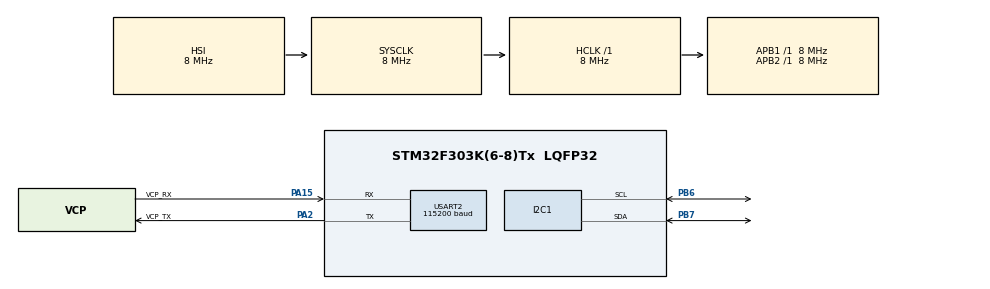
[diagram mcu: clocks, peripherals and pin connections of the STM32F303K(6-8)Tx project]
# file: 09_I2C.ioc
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I2C1.Timing=0x00201D2B
Mcu.Family=STM32F3
Mcu.Name=STM32F303K(6-8)Tx
Mcu.Package=LQFP32
NVIC.PriorityGroup=NVIC_PRIORITYGROUP_4
PA13.GPIO_Label=SWDIO
PA13.Mode=Serial_Wire
PA13.Signal=SYS_JTMS-SWDIO
PA14.GPIO_Label=SWCLK
PA14.Mode=Serial_Wire
PA14.Signal=SYS_JTCK-SWCLK
PA15.GPIO_Label=VCP_RX
PA15.Mode=Asynchronous
PA15.Signal=USART2_RX
PA2.GPIO_Label=VCP_TX
PA2.Mode=Asynchronous
PA2.Signal=USART2_TX
PB6.Mode=I2C
PB6.Signal=I2C1_SCL
PB7.Mode=I2C
PB7.Signal=I2C1_SDA
PF0\ /\ OSC_IN.GPIO_Label=MCO
PF0\ /\ OSC_IN.Mode=HSE-External-Clock-Source
PF0\ /\ OSC_IN.Signal=RCC_OSC_IN
ProjectManager.HeapSize=0x200
ProjectManager.StackSize=0x400
ProjectManager.TargetToolchain=STM32CubeIDE
RCC.AHBFreq_Value=8000000
RCC.APB1Freq_Value=8000000
RCC.APB2Freq_Value=8000000
RCC.CortexFreq_Value=8000000
RCC.HSE_VALUE=8000000
RCC.HSI_VALUE=8000000
RCC.SYSCLKFreq_VALUE=8000000
USART2.BaudRate=115200
USART2.VirtualMode-Asynchronous=VM_ASYNC
board=NUCLEO-F303K8

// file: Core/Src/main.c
/* USER CODE BEGIN Header */
/**
  ******************************************************************************
  * @file           : main.c
  * @brief          : Main program body
  ******************************************************************************
  * @attention
  *
  * Copyright (c) 2026 STMicroelectronics.
  * All rights reserved.
  *
  * This software is licensed under terms that can be found in the LICENSE file
  * in the root directory of this software component.
  * If no LICENSE file comes with this software, it is provided AS-IS.
  *
  ******************************************************************************
  */
/* USER CODE END Header */
#include "main.h"

/* USER CODE BEGIN Includes */
#include <stdio.h>
/* USER CODE END Includes */

/* USER CODE BEGIN PD */

#define BME280_addr (0x76 << 1)

/* USER CODE END PD */

I2C_HandleTypeDef hi2c1;

UART_HandleTypeDef huart2;

/* USER CODE BEGIN PV */

uint8_t config_hum = 0x01;
uint8_t config_pres_temp = 0x27;

HAL_StatusTypeDef ret;

uint8_t sensor_data[8];

int32_t pres_data;
int32_t temp_data;
uint16_t hum_data;

float pressure;
float temperature;
float humidity;

//Calibration parameter variables
uint16_t dig_T1;
int16_t dig_T2;
int16_t dig_T3;

uint16_t dig_P1;
int16_t dig_P2;
int16_t dig_P3;
int16_t dig_P4;
int16_t dig_P5;
int16_t dig_P6;
int16_t dig_P7;
int16_t dig_P8;
int16_t dig_P9;

uint8_t dig_H1;
int16_t dig_H2;
uint8_t dig_H3;
int16_t dig_H4;
int16_t dig_H5;
int8_t dig_H6;

/* USER CODE END PV */

void SystemClock_Config(void);
static void MX_GPIO_Init(void);
static void MX_I2C1_Init(void);
static void MX_USART2_UART_Init(void);
/* USER CODE BEGIN PFP */

int32_t  BME280_compensate_T_int32(int32_t adc_T);
uint32_t BME280_compensate_P_int64(int32_t adc_P);
uint32_t BME280_compensate_H_int32(int32_t adc_H);

HAL_StatusTypeDef BME280_init(void);
HAL_StatusTypeDef BME280_calibration_parameters(void);

void BME280_ReadData(void);
void Display_Update(void);

/* USER CODE END PFP */

int main(void)
{

  /* MCU Configuration--------------------------------------------------------*/

  /* Reset of all peripherals, Initializes the Flash interface and the Systick. */
  HAL_Init();

  /* Configure the system clock */
  SystemClock_Config();

  /* Initialize all configured peripherals */
  MX_GPIO_Init();
  MX_I2C1_Init();
  MX_USART2_UART_Init();
  /* USER CODE BEGIN 2 */

  BME280_init();

  /* USER CODE END 2 */

  /* Infinite loop */
  /* USER CODE BEGIN WHILE */
  while (1)
  {

	  BME280_ReadData();

	  Display_Update();

	  HAL_Delay(1000);

    /* USER CODE END WHILE */

  }
}

void SystemClock_Config(void)
{
  RCC_OscInitTypeDef RCC_OscInitStruct = {0};
  RCC_ClkInitTypeDef RCC_ClkInitStruct = {0};
  RCC_PeriphCLKInitTypeDef PeriphClkInit = {0};

  /** Initializes the RCC Oscillators according to the specified parameters
  * in the RCC_OscInitTypeDef structure.
  */
  RCC_OscInitStruct.OscillatorType = RCC_OSCILLATORTYPE_HSI;
  RCC_OscInitStruct.HSIState = RCC_HSI_ON;
  RCC_OscInitStruct.HSICalibrationValue = RCC_HSICALIBRATION_DEFAULT;
  RCC_OscInitStruct.PLL.PLLState = RCC_PLL_NONE;
  if (HAL_RCC_OscConfig(&RCC_OscInitStruct) != HAL_OK)
  {
    Error_Handler();
  }

  /** Initializes the CPU, AHB and APB buses clocks
  */
  RCC_ClkInitStruct.ClockType = RCC_CLOCKTYPE_HCLK|RCC_CLOCKTYPE_SYSCLK
                              |RCC_CLOCKTYPE_PCLK1|RCC_CLOCKTYPE_PCLK2;
  RCC_ClkInitStruct.SYSCLKSource = RCC_SYSCLKSOURCE_HSI;
  RCC_ClkInitStruct.AHBCLKDivider = RCC_SYSCLK_DIV1;
  RCC_ClkInitStruct.APB1CLKDivider = RCC_HCLK_DIV1;
  RCC_ClkInitStruct.APB2CLKDivider = RCC_HCLK_DIV1;

  if (HAL_RCC_ClockConfig(&RCC_ClkInitStruct, FLASH_LATENCY_0) != HAL_OK)
  {
    Error_Handler();
  }
  PeriphClkInit.PeriphClockSelection = RCC_PERIPHCLK_I2C1;
  PeriphClkInit.I2c1ClockSelection = RCC_I2C1CLKSOURCE_HSI;
  if (HAL_RCCEx_PeriphCLKConfig(&PeriphClkInit) != HAL_OK)
  {
    Error_Handler();
  }
}

static void MX_I2C1_Init(void)
{

  hi2c1.Instance = I2C1;
  hi2c1.Init.Timing = 0x00201D2B;
  hi2c1.Init.OwnAddress1 = 0;
  hi2c1.Init.AddressingMode = I2C_ADDRESSINGMODE_7BIT;
  hi2c1.Init.DualAddressMode = I2C_DUALADDRESS_DISABLE;
  hi2c1.Init.OwnAddress2 = 0;
  hi2c1.Init.OwnAddress2Masks = I2C_OA2_NOMASK;
  hi2c1.Init.GeneralCallMode = I2C_GENERALCALL_DISABLE;
  hi2c1.Init.NoStretchMode = I2C_NOSTRETCH_DISABLE;
  if (HAL_I2C_Init(&hi2c1) != HAL_OK)
  {
    Error_Handler();
  }

  /** Configure Analogue filter
  */
  if (HAL_I2CEx_ConfigAnalogFilter(&hi2c1, I2C_ANALOGFILTER_ENABLE) != HAL_OK)
  {
    Error_Handler();
  }

  /** Configure Digital filter
  */
  if (HAL_I2CEx_ConfigDigitalFilter(&hi2c1, 0) != HAL_OK)
  {
    Error_Handler();
  }

}

static void MX_USART2_UART_Init(void)
{

  huart2.Instance = USART2;
  huart2.Init.BaudRate = 115200;
  huart2.Init.WordLength = UART_WORDLENGTH_8B;
  huart2.Init.StopBits = UART_STOPBITS_1;
  huart2.Init.Parity = UART_PARITY_NONE;
  huart2.Init.Mode = UART_MODE_TX_RX;
  huart2.Init.HwFlowCtl = UART_HWCONTROL_NONE;
  huart2.Init.OverSampling = UART_OVERSAMPLING_16;
  huart2.Init.OneBitSampling = UART_ONE_BIT_SAMPLE_DISABLE;
  huart2.AdvancedInit.AdvFeatureInit = UART_ADVFEATURE_NO_INIT;
  if (HAL_UART_Init(&huart2) != HAL_OK)
  {
    Error_Handler();
  }

}

static void MX_GPIO_Init(void)
{

  /* GPIO Ports Clock Enable */
  __HAL_RCC_GPIOF_CLK_ENABLE();
  __HAL_RCC_GPIOA_CLK_ENABLE();
  __HAL_RCC_GPIOB_CLK_ENABLE();

}

/* USER CODE BEGIN 4 */

HAL_StatusTypeDef  BME280_init(){

	HAL_StatusTypeDef ret;

	ret = HAL_I2C_Mem_Write(&hi2c1, BME280_addr, 0xF2, I2C_MEMADD_SIZE_8BIT, &config_hum, 1, HAL_MAX_DELAY);
	if(ret != HAL_OK){
		printf("Write Error for humidity sensor\r\n");
		return ret;
	}
	ret = HAL_I2C_Mem_Write(&hi2c1, BME280_addr, 0xF4, I2C_MEMADD_SIZE_8BIT, &config_pres_temp, 1, HAL_MAX_DELAY);
	if(ret != HAL_OK){
		printf("Write Error for temperature & pressure sensor\r\n");
		return ret;
	}

	return BME280_calibration_parameters();

}

void BME280_ReadData(){

	ret = HAL_I2C_Mem_Read(&hi2c1, BME280_addr, 0xF7, I2C_MEMADD_SIZE_8BIT, sensor_data, 8, HAL_MAX_DELAY);
	if(ret != HAL_OK){
		printf("Read Error\r\n");
		return;
	}

	pres_data = ((int32_t)sensor_data[0] << 12 ) | ((int32_t)sensor_data[1] <<4 ) | ((int32_t)sensor_data[2] >> 4 );

	temp_data = ((int32_t)sensor_data[3] << 12)| ((int32_t)sensor_data[4] <<4)  | ((int32_t)sensor_data[5] >> 4 );

	hum_data = ((uint32_t)sensor_data[6]<< 8) | ((uint32_t)sensor_data[7]);

	temperature = BME280_compensate_T_int32(temp_data) / 100.0f;
	pressure = BME280_compensate_P_int64(pres_data) / 25600.0f;
	humidity = BME280_compensate_H_int32(hum_data) / 1024.0f;

}

void Display_Update(){

	printf("Pressure: %.2f hPa\r\n", pressure);
	printf("Temperature: %.2f °C\r\n", temperature);
	printf("Humidity: %.2f %%RH\r\n\n", humidity);

}

int __io_putchar(int ch)
{
	HAL_UART_Transmit(&huart2, (uint8_t *)&ch, 1, HAL_MAX_DELAY);
	return ch;
}

//Storing the hard-coded calibration parameters from bme280 into usable variables
HAL_StatusTypeDef BME280_calibration_parameters(){

uint8_t calibration1[26];
uint8_t calibration2[7];

HAL_StatusTypeDef ret;

ret = HAL_I2C_Mem_Read(&hi2c1, BME280_addr, 0x88, I2C_MEMADD_SIZE_8BIT, calibration1, sizeof(calibration1), HAL_MAX_DELAY);
	if(ret != HAL_OK){
		printf("Calibration parameter set 1 Read Error\r\n");
		return ret;
	}
ret = HAL_I2C_Mem_Read(&hi2c1, BME280_addr, 0xE1, I2C_MEMADD_SIZE_8BIT, calibration2, sizeof(calibration2), HAL_MAX_DELAY);
	if(ret != HAL_OK){
		printf("Calibration parameter set 2 Read Error\r\n");
		return ret;
	}

dig_T1 = ((uint16_t)calibration1[1] << 8) | calibration1[0];
dig_T2 = (int16_t)(((uint16_t)calibration1[3] << 8) | calibration1[2]);
dig_T3 = (int16_t)(((uint16_t)calibration1[5] << 8) | calibration1[4]);

dig_P1 = ((uint16_t)calibration1[7] << 8) | calibration1[6];
dig_P2 = (int16_t)(((uint16_t)calibration1[9] << 8) | calibration1[8]);
dig_P3 = (int16_t)(((uint16_t)calibration1[11] << 8) | calibration1[10]);
dig_P4 = (int16_t)(((uint16_t)calibration1[13] << 8) | calibration1[12]);
dig_P5 = (int16_t)(((uint16_t)calibration1[15] << 8) | calibration1[14]);
dig_P6 = (int16_t)(((uint16_t)calibration1[17] << 8) | calibration1[16]);
dig_P7 = (int16_t)(((uint16_t)calibration1[19] << 8) | calibration1[18]);
dig_P8 = (int16_t)(((uint16_t)calibration1[21] << 8) | calibration1[20]);
dig_P9 = (int16_t)(((uint16_t)calibration1[23] << 8) | calibration1[22]);

dig_H1 = calibration1[25];
dig_H2 = (int16_t)(((uint16_t)calibration2[1] << 8) | calibration2[0]);
dig_H3 = calibration2[2];
dig_H4 = (int16_t)(((int16_t)(int8_t)calibration2[3] << 4) | (calibration2[4] & (0x0F)));
dig_H5 = (int16_t)(((int16_t)(int8_t)calibration2[5] << 4) | (calibration2[4] >> 4));
dig_H6 = (int8_t)calibration2[6];

printf("P1=%u P2=%d P3=%d\r\n", dig_P1, dig_P2, dig_P3);
printf("P4=%d P5=%d P6=%d\r\n", dig_P4, dig_P5, dig_P6);
printf("P7=%d P8=%d P9=%d\r\n", dig_P7, dig_P8, dig_P9);

printf("H1=%u H2=%d H3=%u H4=%d H5=%d H6=%d\r\n\n", dig_H1, dig_H2, dig_H3, dig_H4, dig_H5, dig_H6);

return HAL_OK;
}

// Returns temperature in DegC, resolution is 0.01 DegC.
// Output value of "5123" equals 51.23 DegC.
// t_fine carries fine temperature as global value.

int32_t t_fine;

int32_t BME280_compensate_T_int32(int32_t adc_T)
{
    int32_t var1, var2, T;

    var1 = ((((adc_T >> 3) - ((int32_t)dig_T1 << 1))) *
            ((int32_t)dig_T2)) >> 11;

    var2 = (((((adc_T >> 4) - ((int32_t)dig_T1)) *
             ((adc_T >> 4) - ((int32_t)dig_T1))) >> 12) *
             ((int32_t)dig_T3)) >> 14;

    t_fine = var1 + var2;

    T = (t_fine * 5 + 128) >> 8;

    return T;
}

// Returns pressure in Pa as unsigned 32-bit integer in Q24.8 format
// (24 integer bits and 8 fractional bits)
// Example:
// 24674867 represents 24674867 / 256 = 96386.2 Pa = 963.862 hPa

uint32_t BME280_compensate_P_int64(int32_t adc_P)
{
    int64_t var1, var2, p;

    var1 = ((int64_t)t_fine) - 128000;
    var2 = var1 * var1 * (int64_t)dig_P6;
    var2 = var2 + ((var1 * (int64_t)dig_P5) << 17);
    var2 = var2 + (((int64_t)dig_P4) << 35);
    var1 = ((var1 * var1 * (int64_t)dig_P3) >> 8) +
           ((var1 * (int64_t)dig_P2) << 12);
    var1 = (((((int64_t)1) << 47) + var1) *
            ((int64_t)dig_P1)) >> 33;

    if (var1 == 0)
    {
        return 0; // Avoid division by zero
    }

    p = 1048576 - adc_P;
    p = (((p << 31) - var2) * 3125) / var1;
    var1 = (((int64_t)dig_P9) * (p >> 13) * (p >> 13)) >> 25;
    var2 = (((int64_t)dig_P8) * p) >> 19;

    p = ((p + var1 + var2) >> 8) +
        (((int64_t)dig_P7) << 4);

    return (uint32_t)p;
}

// Returns humidity in %RH as unsigned 32-bit integer in Q22.10 format
// (22 integer bits and 10 fractional bits)
// Example:
// 47445 represents 47445 / 1024 = 46.333 %RH

uint32_t BME280_compensate_H_int32(int32_t adc_H)
{
    int32_t v_x1_u32r;

    v_x1_u32r = (t_fine - ((int32_t)76800));

    v_x1_u32r = (((((adc_H << 14) -
                   (((int32_t)dig_H4) << 20) -
                   (((int32_t)dig_H5) * v_x1_u32r)) +
                   ((int32_t)16384)) >> 15) *
                 (((((((v_x1_u32r * ((int32_t)dig_H6)) >> 10) *
                 (((v_x1_u32r * ((int32_t)dig_H3)) >> 11) +
                 ((int32_t)32768))) >> 10) +
                 ((int32_t)2097152)) *
                 ((int32_t)dig_H2) + 8192) >> 14));

    v_x1_u32r = (v_x1_u32r -
                (((((v_x1_u32r >> 15) *
                (v_x1_u32r >> 15)) >> 7) *
                ((int32_t)dig_H1)) >> 4));

    v_x1_u32r = (v_x1_u32r < 0 ? 0 : v_x1_u32r);

    v_x1_u32r = (v_x1_u32r > 419430400 ?
                419430400 : v_x1_u32r);

    return (uint32_t)(v_x1_u32r >> 12);
}

/* USER CODE END 4 */

void Error_Handler(void)
{
  __disable_irq();
  while (1)
  {
  }
}
